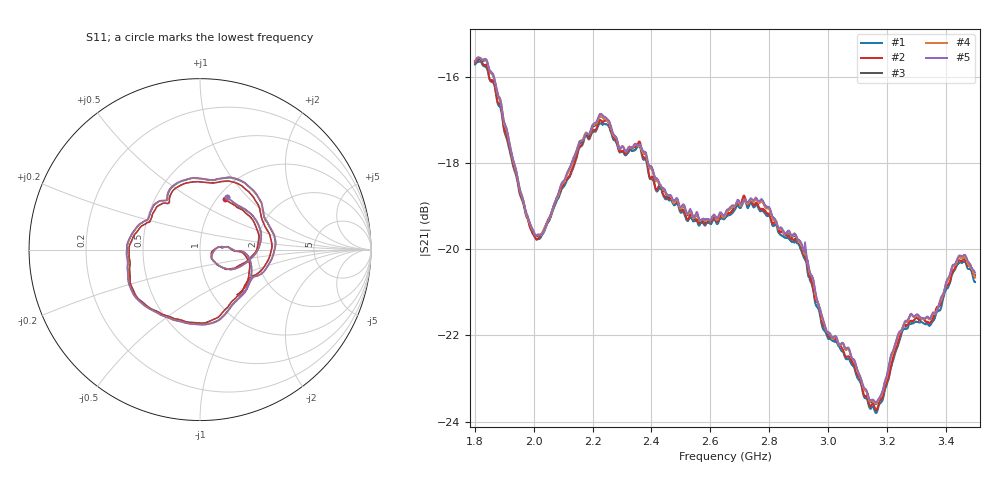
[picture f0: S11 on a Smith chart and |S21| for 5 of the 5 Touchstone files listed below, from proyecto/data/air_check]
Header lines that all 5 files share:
! Created with skrf 1.9.0 (http://scikit-rf.org).
# Hz S RI R 50.0
!freq ReS11 ImS11 ReS21 ImS21 ReS12 ImS12 ReS22 ImS22
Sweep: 1.8 GHz to 3.5 GHz
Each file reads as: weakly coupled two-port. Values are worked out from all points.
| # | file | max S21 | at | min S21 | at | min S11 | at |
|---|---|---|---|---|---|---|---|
| 1 | AIR_D02_B2_corrected.s2p | -15.64 dB | 1.816 GHz | -23.8 dB | 3.163 GHz | -23.2 dB | 2.093 GHz |
| 2 | AIR_D03_B2_corrected.s2p | -15.59 dB | 1.818 GHz | -23.7 dB | 3.165 GHz | -23.1 dB | 2.093 GHz |
| 3 | AIR_D05_B2_corrected.s2p | -15.57 dB | 1.812 GHz | -23.6 dB | 3.162 GHz | -22.4 dB | 2.092 GHz |
| 4 | AIR_D06_B2_corrected.s2p | -15.54 dB | 1.811 GHz | -23.6 dB | 3.163 GHz | -22.4 dB | 2.091 GHz |
| 5 | AIR_D08_B2_corrected.s2p | -15.55 dB | 1.815 GHz | -23.6 dB | 3.164 GHz | -22.3 dB | 2.091 GHz |
